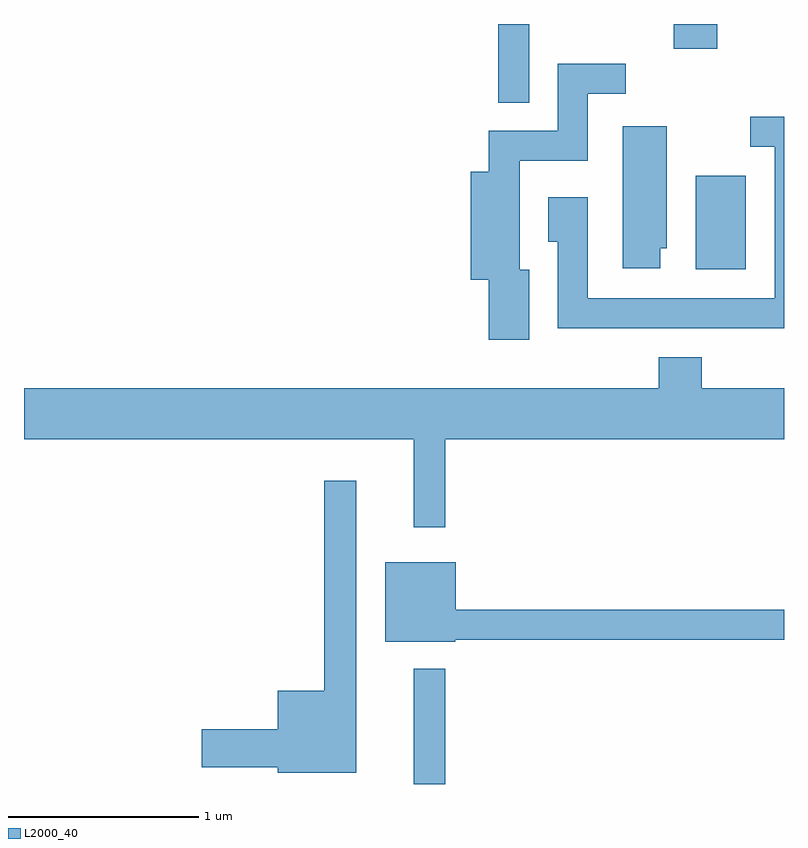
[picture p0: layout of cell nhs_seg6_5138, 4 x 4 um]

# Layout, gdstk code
import gdstk
lib = gdstk.Library(unit=1e-6, precision=1e-09)
def R(c, l, rs):  # rectangles x0, y0, x1, y1
    for r in rs: c.add(gdstk.rectangle(r[:2], r[2:], *l))
def P(c, l, *ps):  # polygons
    for p in ps: c.add(gdstk.Polygon(p, *l))
L2000_40 = (2000, 40)

nhs_seg6_5138 = lib.new_cell('nhs_seg6_5138')
R(nhs_seg6_5138, L2000_40, [(343.661,1608.162,343.829,1608.768), (345.146,1610.871,345.409,1611.364), (344.106,1611.748,344.269,1612.162), (345.031,1612.031,345.259,1612.162)])
P(nhs_seg6_5138, L2000_40, [(344.269,1610.869),(344.219,1610.869),(344.219,1611.441),(344.579,1611.441),(344.579,1611.796),(344.778,1611.796),(344.778,1611.954),(344.421,1611.954),(344.421,1611.599),(344.056,1611.599),(344.056,1611.384),(343.961,1611.384),(343.961,1610.816),(344.056,1610.816),(344.056,1610.501),(344.269,1610.501)],
  [(345.611,1611.674),(345.433,1611.674),(345.433,1611.516),(345.561,1611.516),(345.561,1610.719),(344.579,1610.719),(344.579,1611.249),(344.371,1611.249),(344.371,1611.016),(344.421,1611.016),(344.421,1610.561),(345.611,1610.561)],
  [(344.959,1610.981),(344.994,1610.981),(344.994,1611.624),(344.761,1611.624),(344.761,1610.876),(344.959,1610.876)],
  [(343.829,1609.976),(345.611,1609.976),(345.611,1610.244),(345.179,1610.244),(345.179,1610.409),(344.951,1610.409),(344.951,1610.244),(341.611,1610.244),(341.611,1609.976),(343.661,1609.976),(343.661,1609.513),(343.829,1609.513)],
  [(343.359,1609.758),(343.191,1609.758),(343.191,1608.654),(342.946,1608.654),(342.946,1608.449),(342.546,1608.449),(342.546,1608.251),(342.946,1608.251),(342.946,1608.221),(343.359,1608.221)],
  [(343.88,1608.921),(345.611,1608.921),(345.611,1609.079),(343.884,1609.079),(343.884,1609.329),(343.511,1609.329),(343.511,1608.911),(343.88,1608.911)])

lib.write_gds('nhs_seg6_5138.gds')
